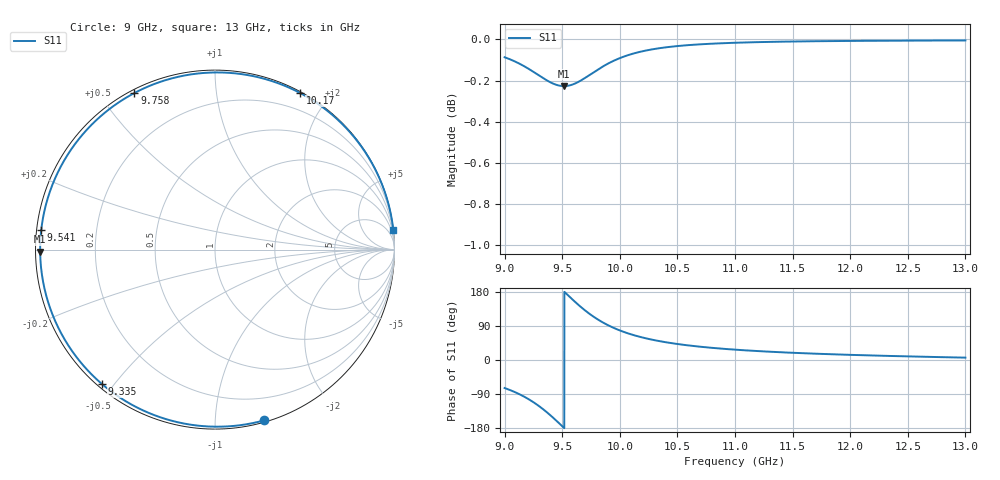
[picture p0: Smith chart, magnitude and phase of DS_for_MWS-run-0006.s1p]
! TOUCHSTONE file generated by CST DESIGN STUDIO
! Date and time: Tue Feb  4 12:29:44 2025
! Project name: C:\Work\MatlabApps\UnitCellOptimizationMatlab\CST\unitcell.cst
! Tree item: Tasks\Sweep1\SPara1\S-Parameters
! Header version: 2024
! Port assignment regex: !\s*Touchstone port\s*([0-9]+)\s*=\s*(CST MWS port|CST DES external port|CST DES block port)\s*(.+)\s* \(\"(.*)\"\)(\s*mode\s*([0-9]+))?.*
! Touchstone port assignment:
! Touchstone port 1 = CST DES external port 1 ("")
# GHz S MA R 50
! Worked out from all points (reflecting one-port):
!   4001 points, 9 GHz to 13 GHz, reference 50 ohm
!   lowest |S11| = -0.2 dB at 9.516 GHz (marker M1), VSWR 76.60, Z = 0.653 - j0.305 ohm
!   phase of S11 starts at -74 deg and turns -280 deg over the sweep
!   S11 on the Smith chart (normalised r, x): 9 GHz: 0.01, -1.33; 9.335 GHz: 0.01, -0.47; 9.541 GHz: 0.01, +0.06; 9.758 GHz: 0.01, +0.61; 10.17 GHz: 0.01, +1.68; 13 GHz: 0, +18
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9  0.9901 -73.9
9.091  0.9877 -85.0
9.195  0.9842 -101.0
9.268  0.9813 -115.0
9.335  0.9786 -130.0
9.38  0.9769 -141.3
9.426  0.9755 -153.6
9.464  0.9747 -164.3
9.5  0.9743 -174.7
9.516  0.9742 -179.3
9.541  0.9743 173.4
9.595  0.9752 158.0
9.655  0.977 141.7
9.706  0.979 129.0
9.758  0.9812 117.3
9.809  0.9833 107.0
9.864  0.9854 97.2
10  0.9896 78.0
10.082  0.9915 69.2
10.17  0.993 61.4
10.32  0.9949 51.2
10.5  0.9963 42.2
10.722  0.9974 34.3
11  0.9982 27.3
11.5  0.9989 19.0
12  0.9992 13.6
12.5  0.9993 9.5
13  0.9994 6.2
